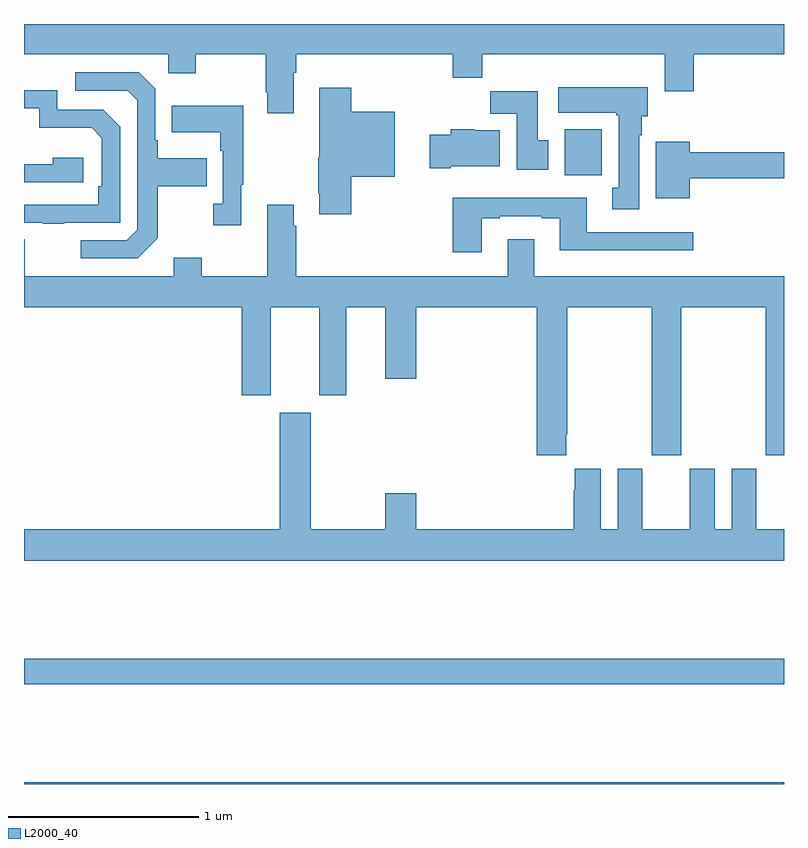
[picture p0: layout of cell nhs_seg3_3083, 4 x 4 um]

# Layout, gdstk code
import gdstk
lib = gdstk.Library(unit=1e-6, precision=1e-09)
def R(c, l, rs):  # rectangles x0, y0, x1, y1
    for r in rs: c.add(gdstk.rectangle(r[:2], r[2:], *l))
def P(c, l, *ps):  # polygons
    for p in ps: c.add(gdstk.Polygon(p, *l))
L2000_40 = (2000, 40)

nhs_seg3_3083 = lib.new_cell('nhs_seg3_3083')
R(nhs_seg3_3083, L2000_40, [(271,706.4,275,706.408), (271,706.924,275,707.06), (273.845,709.604,274.042,709.846)])
P(nhs_seg3_3083, L2000_40, [(272.419,710.144),(272.432,710.144),(272.432,710.24),(273.257,710.24),(273.257,710.116),(273.413,710.116),(273.413,710.24),(274.373,710.24),(274.373,710.046),(274.526,710.046),(274.526,710.24),(275,710.24),(275,710.4),(271,710.4),(271,710.24),(271.758,710.24),(271.758,710.141),(271.905,710.141),(271.905,710.24),(272.272,710.24),(272.272,710.041),(272.279,710.041),(272.279,709.929),(272.419,709.929)],
  [(271.705,709.273),(271.705,709.546),(271.961,709.546),(271.961,709.693),(271.705,709.693),(271.705,709.789),(271.692,709.789),(271.692,710.058),(271.605,710.145),(271.269,710.145),(271.269,710.049),(271.545,710.049),(271.596,709.998),(271.596,709.317),(271.542,709.263),(271.299,709.263),(271.299,709.167),(271.599,709.167)],
  [(274.237,709.814),(274.252,709.814),(274.252,709.914),(274.282,709.914),(274.282,710.068),(273.813,710.068),(273.813,709.934),(274.117,709.934),(274.117,709.921),(274.13,709.921),(274.13,709.538),(274.097,709.538),(274.097,709.425),(274.237,709.425)],
  [(272.723,709.595),(272.95,709.595),(272.95,709.939),(272.723,709.939),(272.723,710.065),(272.555,710.065),(272.555,709.699),(272.548,709.699),(272.548,709.51),(272.555,709.51),(272.555,709.398),(272.723,709.398)],
  [(271.211,709.353),(271.506,709.353),(271.506,709.86),(271.416,709.95),(271.176,709.95),(271.176,710.052),(271,710.052),(271,709.956),(271.08,709.956),(271.08,709.853),(271.357,709.853),(271.41,709.8),(271.41,709.546),(271.39,709.546),(271.39,709.449),(271,709.449),(271,709.353),(271.099,709.353),(271.099,709.348),(271.211,709.348)],
  [(273.76,709.788),(273.703,709.788),(273.703,710.047),(273.454,710.047),(273.454,709.928),(273.593,709.928),(273.593,709.632),(273.76,709.632)],
  [(272.143,709.553),(272.155,709.553),(272.155,709.969),(271.777,709.969),(271.777,709.829),(272.034,709.829),(272.034,709.733),(272.046,709.733),(272.046,709.454),(271.995,709.454),(271.995,709.341),(272.143,709.341)],
  [(273.247,709.652),(273.505,709.652),(273.505,709.84),(273.372,709.84),(273.372,709.846),(273.247,709.846),(273.247,709.818),(273.135,709.818),(273.135,709.64),(273.247,709.64)],
  [(274.504,709.588),(275,709.588),(275,709.724),(274.504,709.724),(274.504,709.78),(274.325,709.78),(274.325,709.484),(274.504,709.484)],
  [(271.312,709.696),(271.151,709.696),(271.151,709.662),(271,709.662),(271,709.566),(271.312,709.566)],
  [(273.409,709.377),(273.505,709.377),(273.505,709.389),(273.725,709.389),(273.725,709.377),(273.821,709.377),(273.821,709.208),(274.522,709.208),(274.522,709.305),(273.961,709.305),(273.961,709.486),(273.257,709.486),(273.257,709.2),(273.409,709.2)],
  [(273.853,708.241),(273.858,708.241),(273.858,708.908),(274.303,708.908),(274.303,708.129),(274.458,708.129),(274.458,708.908),(274.903,708.908),(274.903,708.129),(275,708.129),(275,709.072),(273.685,709.072),(273.685,709.267),(273.545,709.267),(273.545,709.072),(272.432,709.072),(272.432,709.337),(272.419,709.337),(272.419,709.45),(272.279,709.45),(272.279,709.072),(271.935,709.072),(271.935,709.171),(271.787,709.171),(271.787,709.072),(271.003,709.072),(271.003,709.267),(271,709.267),(271,708.908),(272.147,708.908),(272.147,708.447),(272.299,708.447),(272.299,708.908),(272.555,708.908),(272.555,708.447),(272.695,708.447),(272.695,708.908),(272.9,708.908),(272.9,708.534),(273.064,708.534),(273.064,708.908),(273.698,708.908),(273.698,708.129),(273.853,708.129)],
  [(275,707.74),(274.855,707.74),(274.855,708.058),(274.724,708.058),(274.724,707.74),(274.636,707.74),(274.636,708.058),(274.505,708.058),(274.505,707.74),(274.255,707.74),(274.255,708.058),(274.124,708.058),(274.124,707.74),(274.036,707.74),(274.036,708.058),(273.899,708.058),(273.899,707.945),(273.893,707.945),(273.893,707.74),(273.064,707.74),(273.064,707.929),(272.9,707.929),(272.9,707.74),(272.509,707.74),(272.509,708.355),(272.345,708.355),(272.345,707.74),(271,707.74),(271,707.576),(275,707.576)])

lib.write_gds('nhs_seg3_3083.gds')
